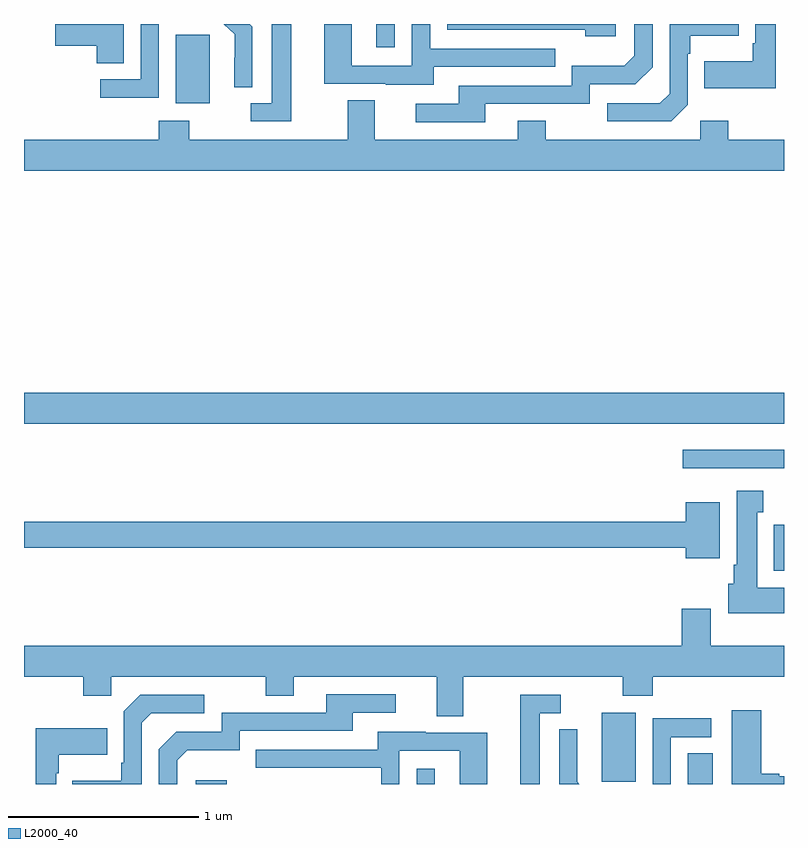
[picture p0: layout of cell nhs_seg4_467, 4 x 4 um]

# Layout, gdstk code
import gdstk
lib = gdstk.Library(unit=1e-6, precision=1e-09)
def R(c, l, rs):  # rectangles x0, y0, x1, y1
    for r in rs: c.add(gdstk.rectangle(r[:2], r[2:], *l))
def P(c, l, *ps):  # polygons
    for p in ps: c.add(gdstk.Polygon(p, *l))
L2000_40 = (2000, 40)

nhs_seg4_467 = lib.new_cell('nhs_seg4_467')
R(nhs_seg4_467, L2000_40, [(133.905,818.9,134.066,818.92), (135.066,818.9,135.163,818.98), (136.493,818.9,136.624,819.062), (136.04,818.913,136.219,819.274), (136.946,820.022,137,820.264), (136.467,820.563,137,820.66), (133,820.796,137,820.96), (133.799,822.482,133.978,822.843), (134.855,822.777,134.952,822.9)])
P(nhs_seg4_467, L2000_40, [(136.114,822.9),(135.228,822.9),(135.228,822.87),(135.953,822.87),(135.953,822.836),(136.114,822.836)],
  [(134.202,822.886),(134.188,822.9),(134.052,822.9),(134.108,822.845),(134.108,822.722),(134.106,822.722),(134.106,822.568),(134.202,822.568)],
  [(136.494,822.474),(136.494,822.743),(136.507,822.743),(136.507,822.839),(136.763,822.839),(136.763,822.9),(136.398,822.9),(136.398,822.534),(136.347,822.483),(136.071,822.483),(136.071,822.387),(136.407,822.387)],
  [(133.525,822.9),(133.164,822.9),(133.164,822.785),(133.382,822.785),(133.382,822.694),(133.525,822.694)],
  [(136.957,822.9),(136.848,822.9),(136.848,822.799),(136.836,822.799),(136.836,822.703),(136.579,822.703),(136.579,822.563),(136.957,822.563)],
  [(135.427,822.48),(135.978,822.48),(135.978,822.582),(136.218,822.582),(136.308,822.672),(136.308,822.9),(136.212,822.9),(136.212,822.732),(136.159,822.679),(135.882,822.679),(135.882,822.576),(135.287,822.576),(135.287,822.48),(135.063,822.48),(135.063,822.384),(135.427,822.384)],
  [(134.407,822.9),(134.303,822.9),(134.303,822.483),(134.193,822.483),(134.193,822.387),(134.407,822.387)],
  [(135.157,822.675),(135.797,822.675),(135.797,822.771),(135.138,822.771),(135.138,822.9),(135.042,822.9),(135.042,822.681),(134.724,822.681),(134.724,822.9),(134.579,822.9),(134.579,822.585),(134.903,822.585),(134.903,822.581),(135.157,822.581)],
  [(133.71,822.9),(133.614,822.9),(133.614,822.609),(133.401,822.609),(133.401,822.511),(133.71,822.511)],
  [(137,822.292),(136.707,822.292),(136.707,822.391),(136.56,822.391),(136.56,822.292),(135.747,822.292),(135.747,822.391),(135.599,822.391),(135.599,822.292),(134.845,822.292),(134.845,822.5),(134.705,822.5),(134.705,822.292),(133.869,822.292),(133.869,822.391),(133.709,822.391),(133.709,822.292),(133,822.292),(133,822.128),(137,822.128)],
  [(137,819.934),(136.858,819.934),(136.858,820.331),(136.891,820.331),(136.891,820.444),(136.751,820.444),(136.751,820.054),(136.736,820.054),(136.736,819.954),(136.706,819.954),(136.706,819.8),(137,819.8)],
  [(136.663,820.384),(136.484,820.384),(136.484,820.28),(133,820.28),(133,820.144),(136.484,820.144),(136.484,820.088),(136.663,820.088)],
  [(135.313,819.464),(136.15,819.464),(136.15,819.365),(136.31,819.365),(136.31,819.464),(137,819.464),(137,819.628),(136.615,819.628),(136.615,819.823),(136.463,819.823),(136.463,819.628),(133,819.628),(133,819.464),(133.312,819.464),(133.312,819.365),(133.458,819.365),(133.458,819.464),(134.272,819.464),(134.272,819.365),(134.419,819.365),(134.419,819.464),(135.173,819.464),(135.173,819.256),(135.313,819.256)],
  [(133.806,819.024),(133.859,819.077),(134.136,819.077),(134.136,819.18),(134.731,819.18),(134.731,819.276),(134.956,819.276),(134.956,819.372),(134.591,819.372),(134.591,819.276),(134.04,819.276),(134.04,819.174),(133.8,819.174),(133.71,819.084),(133.71,818.9),(133.806,818.9)],
  [(133.62,819.222),(133.671,819.273),(133.948,819.273),(133.948,819.369),(133.611,819.369),(133.524,819.282),(133.524,819.013),(133.512,819.013),(133.512,818.917),(133.255,818.917),(133.255,818.9),(133.62,818.9)],
  [(135.715,819.273),(135.826,819.273),(135.826,819.369),(135.611,819.369),(135.611,818.9),(135.715,818.9)],
  [(137,818.941),(136.975,818.941),(136.975,818.954),(136.879,818.954),(136.879,819.289),(136.724,819.289),(136.724,818.9),(137,818.9)],
  [(136.404,819.147),(136.618,819.147),(136.618,819.246),(136.308,819.246),(136.308,818.9),(136.404,818.9)],
  [(133.17,818.957),(133.183,818.957),(133.183,819.053),(133.439,819.053),(133.439,819.193),(133.062,819.193),(133.062,818.9),(133.17,818.9)],
  [(135.911,818.912),(135.911,819.034),(135.912,819.034),(135.912,819.188),(135.816,819.188),(135.816,818.9),(135.923,818.9)],
  [(134.976,819.075),(135.294,819.075),(135.294,818.9),(135.439,818.9),(135.439,819.171),(135.115,819.171),(135.115,819.175),(134.861,819.175),(134.861,819.081),(134.221,819.081),(134.221,818.985),(134.88,818.985),(134.88,818.9),(134.976,818.9)])

lib.write_gds('nhs_seg4_467.gds')
